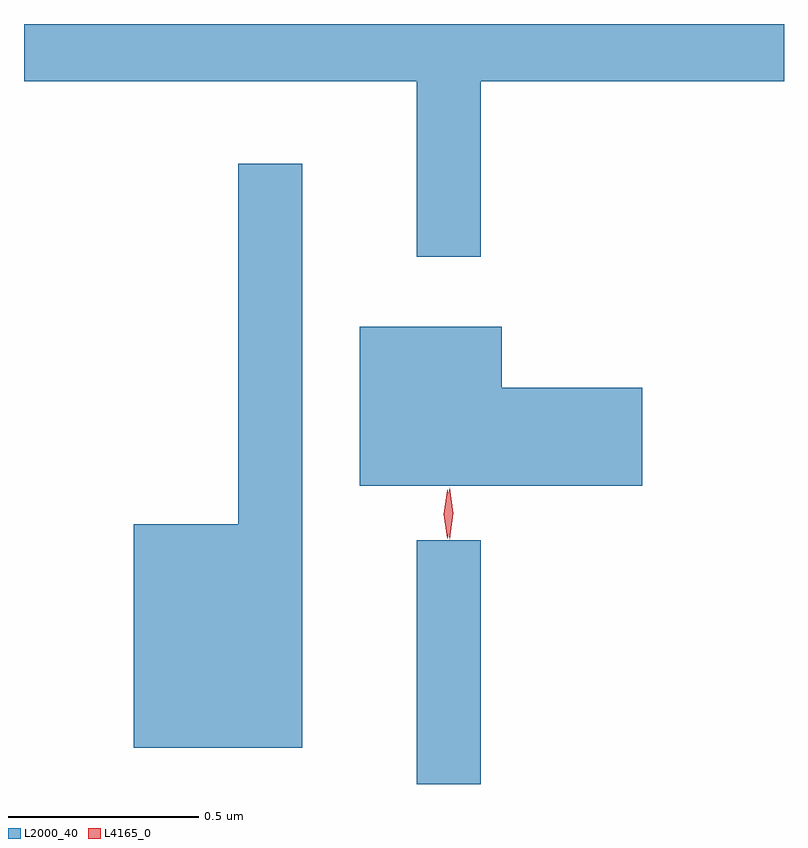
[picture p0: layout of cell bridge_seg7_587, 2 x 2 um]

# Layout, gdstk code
import gdstk
lib = gdstk.Library(unit=1e-6, precision=1e-09)
def R(c, l, rs):  # rectangles x0, y0, x1, y1
    for r in rs: c.add(gdstk.rectangle(r[:2], r[2:], *l))
def P(c, l, *ps):  # polygons
    for p in ps: c.add(gdstk.Polygon(p, *l))
L2000_40 = (2000, 40)
L4165_0 = (4165, 0)

bridge_seg7_587 = lib.new_cell('bridge_seg7_587')
R(bridge_seg7_587, L2000_40, [(991.531,1741.326,991.699,1741.968)])
P(bridge_seg7_587, L2000_40, [(991.699,1743.176),(992.497,1743.176),(992.497,1743.326),(990.497,1743.326),(990.497,1743.176),(991.531,1743.176),(991.531,1742.713),(991.699,1742.713)],
  [(991.229,1742.958),(991.061,1742.958),(991.061,1742.009),(990.786,1742.009),(990.786,1741.421),(991.229,1741.421)],
  [(992.124,1742.369),(991.754,1742.369),(991.754,1742.529),(991.381,1742.529),(991.381,1742.111),(992.124,1742.111)])
P(bridge_seg7_587, L4165_0, [(991.611,1741.973),(991.602,1742.036),(991.611,1742.099),(991.611,1742.1),(991.612,1742.099),(991.622,1742.036),(991.612,1741.973),(991.612,1741.973)],
  [(991.617,1741.97),(991.617,1741.97),(991.607,1742.038),(991.617,1742.106),(991.617,1742.106),(991.618,1742.106),(991.627,1742.038),(991.618,1741.97)])

lib.write_gds('bridge_seg7_587.gds')
